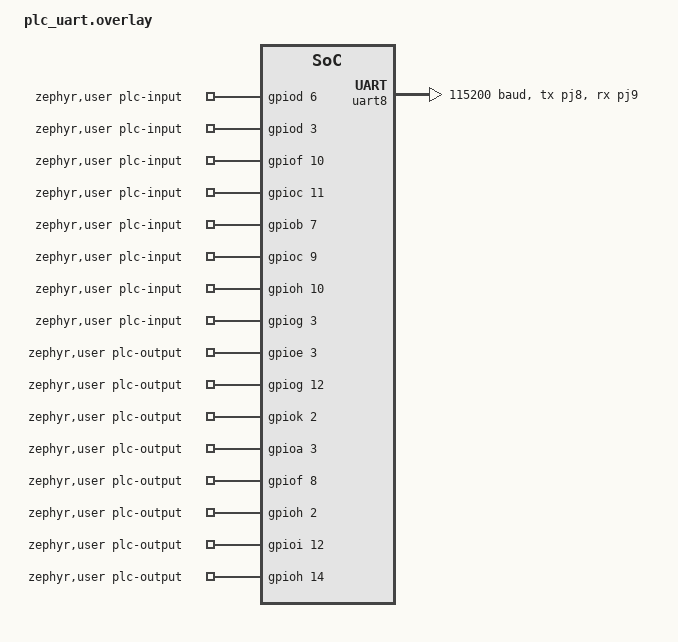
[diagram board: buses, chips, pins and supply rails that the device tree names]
/ {
    zephyr,user {
        plc-input-gpios = <&gpiod 6 GPIO_ACTIVE_HIGH>,
            <&gpiod 3 GPIO_ACTIVE_HIGH>,
            <&gpiof 10 GPIO_ACTIVE_HIGH>,
            <&gpioc 11 GPIO_ACTIVE_HIGH>,
            <&gpiob 7 GPIO_ACTIVE_HIGH>,
            <&gpioc 9 GPIO_ACTIVE_HIGH>,
            <&gpioh 10 GPIO_ACTIVE_HIGH>,
            <&gpiog 3 GPIO_ACTIVE_HIGH>,
            <&gpioh 12 GPIO_ACTIVE_HIGH>,
            <&gpiog 2 GPIO_ACTIVE_HIGH>,
            <&gpioh 9 GPIO_ACTIVE_HIGH>,
            <&gpioi 3 GPIO_ACTIVE_HIGH>,
            <&gpioi 2 GPIO_ACTIVE_HIGH>,
            <&gpioj 7 GPIO_ACTIVE_HIGH>,
            <&gpioi 1 GPIO_ACTIVE_HIGH>,
            <&gpioi 0 GPIO_ACTIVE_HIGH>;
        plc-output-gpios = <&gpioe 3 GPIO_ACTIVE_HIGH>,
            <&gpiog 12 GPIO_ACTIVE_HIGH>,
            <&gpiok 2 GPIO_ACTIVE_HIGH>,
            <&gpioa 3 GPIO_ACTIVE_HIGH>,
            <&gpiof 8 GPIO_ACTIVE_HIGH>,
            <&gpioh 2 GPIO_ACTIVE_HIGH>,
            <&gpioi 12 GPIO_ACTIVE_HIGH>,
            <&gpioh 14 GPIO_ACTIVE_HIGH>,
            <&gpioh 15 GPIO_ACTIVE_HIGH>,
            <&gpioi 4 GPIO_ACTIVE_HIGH>,
            <&gpiok 5 GPIO_ACTIVE_HIGH>,
            <&gpiog 9 GPIO_ACTIVE_HIGH>,
            <&gpiob 9 GPIO_ACTIVE_HIGH>,
            <&gpiod 5 GPIO_ACTIVE_HIGH>,
            <&gpiod 7 GPIO_ACTIVE_HIGH>,
            <&gpiod 4 GPIO_ACTIVE_HIGH>;
    };
};
/* Motherboard J5 pin2 -> ADM3202 R1O -> J8.70/PJ8 (receive).
 * J8.72/PJ9 -> ADM3202 T1I -> J5 pin3 (transmit): swap is essential. */
&uart8 {
    status = "okay";
    pinctrl-0 = <&uart8_tx_pj8 &uart8_rx_pj9>;
    pinctrl-names = "default";
    tx-rx-swap;
    current-speed = <115200>;
};
